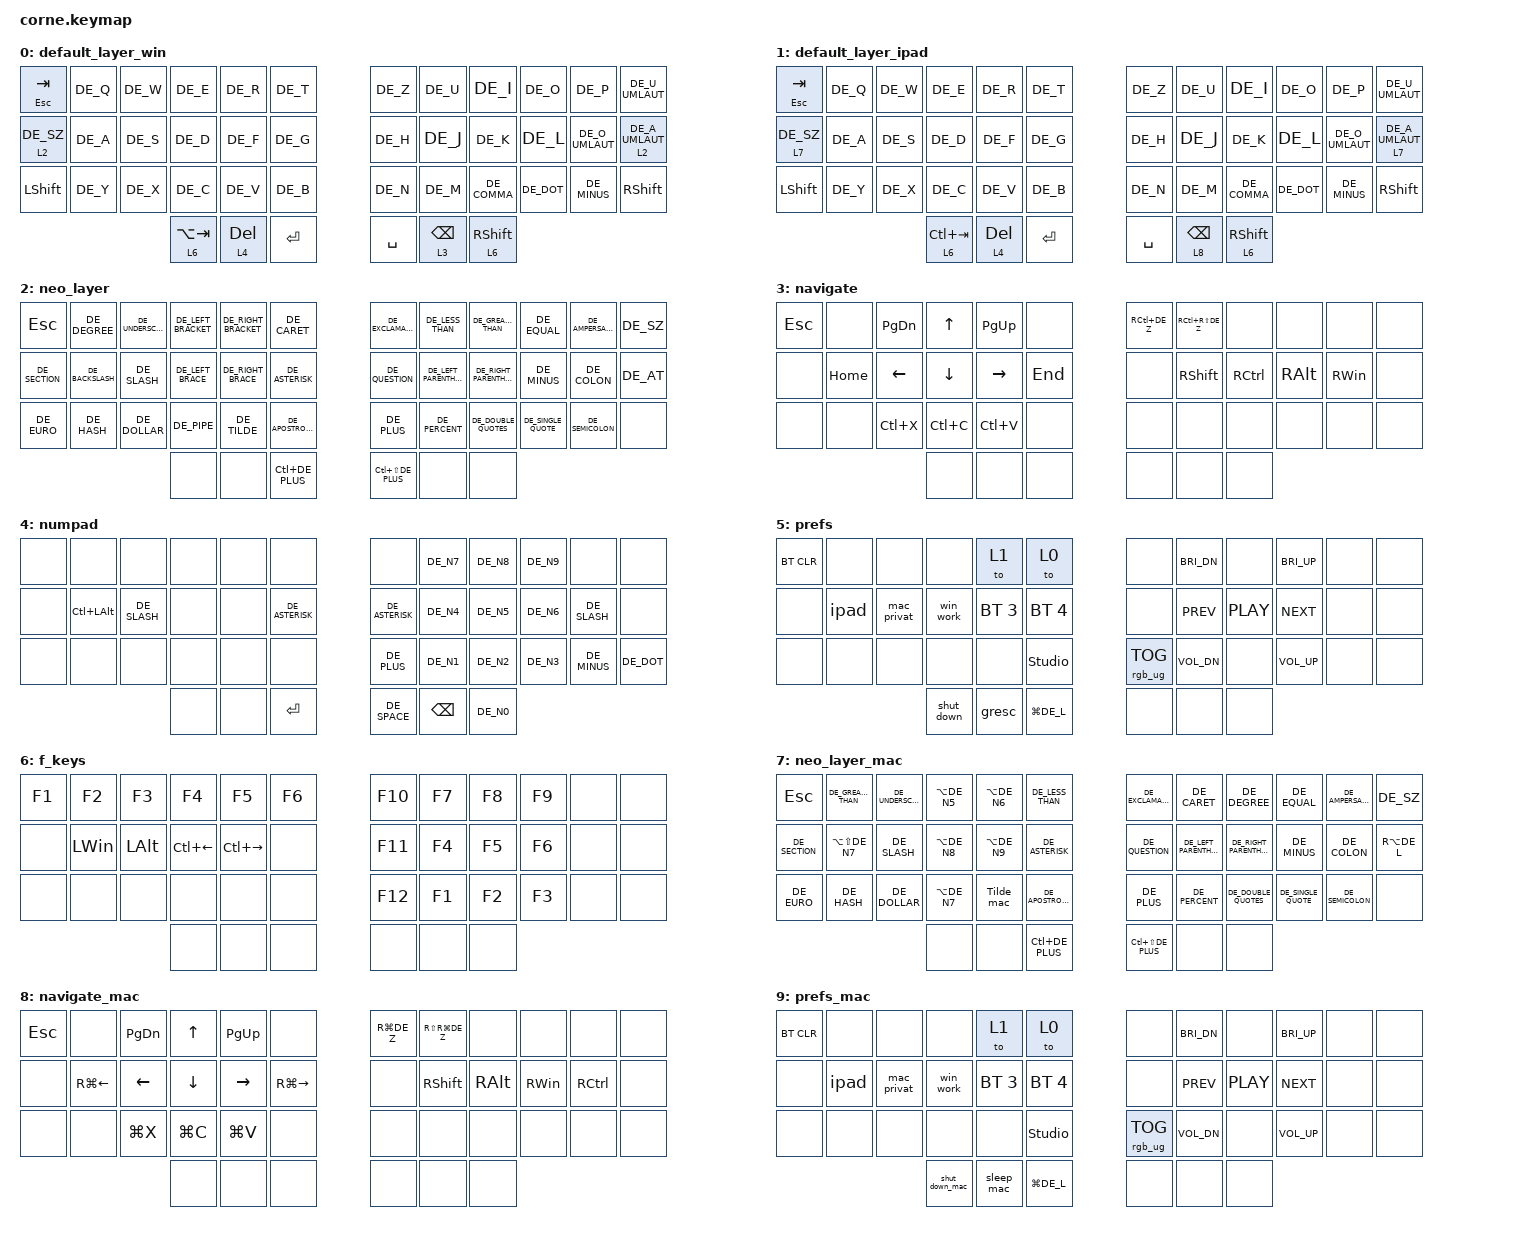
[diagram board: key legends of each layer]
/*
 * Copyright (c) 2020 The ZMK Contributors
 *
 * SPDX-License-Identifier: MIT
 */

#include "keys_de.h"
#include <behaviors.dtsi>
#include <dt-bindings/zmk/bt.h>
#include <dt-bindings/zmk/keys.h>
#include <dt-bindings/zmk/rgb.h>

/ {
    macros {
        switch: switch {
            compatible = "zmk,behavior-macro";
            #binding-cells = <0>;
            bindings =
                <&macro_press>,
                <&kp LEFT_ALT>,
                <&macro_tap>,
                <&kp TAB>,
                <&macro_release>,
                <&kp LEFT_ALT>;

            label = "SWITCH";
        };

        sleep_win: sleep_win {
            compatible = "zmk,behavior-macro";
            #binding-cells = <0>;
            bindings =
                <&macro_press>,
                <&kp LEFT_WIN>,
                <&macro_tap>,
                <&kp DE_X>,
                <&macro_release>,
                <&kp LEFT_WIN>,
                <&macro_wait_time 200>,
                <&macro_tap>,
                <&kp DE_R>,
                <&macro_wait_time 200>,
                <&kp DE_E>;

            label = "SLEEP_WIN";
        };

        shut_down: shut_down {
            compatible = "zmk,behavior-macro";
            #binding-cells = <0>;
            bindings =
                <&macro_press>,
                <&kp LEFT_WIN>,
                <&macro_tap>,
                <&kp DE_X>,
                <&macro_release>,
                <&kp LEFT_WIN>,
                <&macro_wait_time 200>,
                <&macro_tap>,
                <&kp DE_R>,
                <&macro_wait_time 200>,
                <&kp DE_R>;

            label = "SHUT_DOWN";
        };

        sleep_mac: sleep_mac {
            compatible = "zmk,behavior-macro";
            #binding-cells = <0>;
            bindings =
                <&macro_press>,
                <&kp LEFT_WIN &kp LEFT_SHIFT>,
                <&macro_tap>,
                <&kp C_EJECT>,
                <&macro_release>,
                <&kp LEFT_ALT &kp LEFT_WIN>;

            label = "SLEEP_MAC";
        };

        shut_down_mac: shut_down_mac {
            compatible = "zmk,behavior-macro";
            #binding-cells = <0>;
            bindings =
                <&macro_press>,
                <&kp LEFT_WIN &kp LEFT_CONTROL &kp LEFT_ALT>,
                <&macro_tap>,
                <&kp C_EJECT>,
                <&macro_release>,
                <&kp LEFT_ALT &kp LEFT_CONTROL &kp LEFT_WIN>;

            label = "SHUT_DOWN_MAC";
        };

        Tilde_mac: Tilde_mac {
            compatible = "zmk,behavior-macro";
            #binding-cells = <0>;
            bindings =
                <&macro_press>,
                <&kp LEFT_ALT>,
                <&macro_tap>,
                <&kp DE_N>,
                <&macro_release>,
                <&kp LEFT_ALT>,
                <&macro_tap>,
                <&kp DE_SPACE>;

            label = "TILDE_MAC";
        };

        ipad: ipad {
            compatible = "zmk,behavior-macro";
            #binding-cells = <0>;
            bindings = <&bt BT_SEL 0
                        &bt BT_DISC 1 &bt BT_DISC 2 &bt BT_DISC 3 &bt BT_DISC 4
                        &to 1>;
            label = "IPAD";
        };

        mac_privat: win_privat {
            compatible = "zmk,behavior-macro";
            #binding-cells = <0>;
            bindings = <&bt BT_SEL 1
                        &bt BT_DISC 0 &bt BT_DISC 2 &bt BT_DISC 3 &bt BT_DISC 4
                        &to 1>;
            label = "WIN_PRIVAT";
        };

        win_work: win_work {
            compatible = "zmk,behavior-macro";
            #binding-cells = <0>;
            bindings = <&bt BT_SEL 2
                        &bt BT_DISC 0 &bt BT_DISC 1 &bt BT_DISC 3 &bt BT_DISC 4
                        &to 0>;
            label = "WIN_WORK";
        };
    };

    behaviors {
        neo_level_l: neo_level_l {
            compatible = "zmk,behavior-hold-tap";
            label = "NEO_LEVEL_L";
            bindings = <&mo>, <&kp>;

            #binding-cells = <2>;
            tapping-term-ms = <200>;
            flavor = "balanced";
            hold-trigger-key-positions = <6 7 8 9 10 11 18 19 20 21 22 23 30 31 32 33 34 35>;
        };

        neo_level_r: neo_level_r {
            compatible = "zmk,behavior-hold-tap";
            label = "NEO_LEVEL_R";
            bindings = <&mo>, <&kp>;

            #binding-cells = <2>;
            tapping-term-ms = <200>;
            flavor = "balanced";
            hold-trigger-key-positions = <0 1 2 3 4 5 12 13 14 15 16 17 24 25 26 27 28 29>;
        };

        level_switch: level_switch {
            compatible = "zmk,behavior-hold-tap";
            label = "LEVEL_SWITCH";
            bindings = <&mo>, <&kp>;

            #binding-cells = <2>;
            tapping-term-ms = <400>;
            flavor = "balanced";
            hold-trigger-key-positions = <6 7 8 9 10 11 18 19 20 21 22 23 30 31 32 33 34 35 0 1 2 3 4 5 12 13 14 15 16 17 24 25 26 27 28 29 41 40>;
        };

        Tab_Esc: Tab_Esc {
            compatible = "zmk,behavior-hold-tap";
            label = "TAB_ESC";
            bindings = <&kp>, <&kp>;

            #binding-cells = <2>;
            tapping-term-ms = <200>;
            flavor = "tap-preferred";
        };
    };

    combos {
        compatible = "zmk,combos";

        prefs_l {
            bindings = <&mo 5>;
            key-positions = <37 36>;
            layers = <0>;
        };

        del_word {
            bindings = <&kp LC(BACKSPACE)>;
            key-positions = <40 37>;
            timeout-ms = <100>;
            layers = <0>;
        };

        prefs_r {
            bindings = <&mo 5>;
            key-positions = <40 41>;
            layers = <0>;
        };

        r_t {
            bindings = <&kp DE_R>;
            key-positions = <4 5>;
            layers = <0>;
        };

        c_v {
            bindings = <&kp DE_C>;
            key-positions = <27 28>;
            layers = <0>;
        };

        p_u {
            bindings = <&kp DE_U_UMLAUT>;
            key-positions = <11 10>;
            layers = <0>;
        };

        prefs_l_mac {
            bindings = <&mo 9>;
            key-positions = <37 36>;
            layers = <1>;
        };

        prefs_r_mac {
            bindings = <&mo 9>;
            key-positions = <40 41>;
            layers = <1>;
        };

        ctrl_l {
            bindings = <&kp RCTRL>;
            key-positions = <15 14>;
            layers = <0>;
            timeout-ms = <30>;
        };

        alt_l {
            bindings = <&kp LEFT_ALT>;
            key-positions = <14 13>;
            layers = <0>;
            timeout-ms = <30>;
            require-prior-idle-ms = <150>;
        };

        crtl_alt_l {
            bindings = <&kp LC(LEFT_ALT)>;
            key-positions = <15 14 13>;
            layers = <0>;
        };

        win_l {
            bindings = <&kp LEFT_WIN>;
            key-positions = <16 15 14 13>;
            layers = <0>;
        };

        crtl_shift_l {
            bindings = <&kp LC(LEFT_SHIFT)>;
            key-positions = <16 15 14>;
            layers = <0>;
        };

        ctrl_alt_shift_l {
            bindings = <&kp LA(LC(LEFT_SHIFT))>;
            key-positions = <16 13>;
            layers = <0 7>;
        };

        crtl_r {
            bindings = <&kp LCTRL>;
            key-positions = <20 21>;
            layers = <0>;
            timeout-ms = <30>;
        };

        alt_r {
            bindings = <&kp RIGHT_ALT>;
            key-positions = <22 21>;
            layers = <0>;
            timeout-ms = <30>;
        };

        crtl_alt_r {
            bindings = <&kp LC(LEFT_ALT)>;
            key-positions = <20 21 22>;
            layers = <0>;
        };

        win_r {
            bindings = <&kp RIGHT_WIN>;
            key-positions = <22 21 20 19>;
            layers = <0>;
        };

        ctrl_shift_r {
            bindings = <&kp LC(LEFT_SHIFT)>;
            key-positions = <21 20 19>;
            layers = <0>;
        };

        crtl_alt_shift_r {
            bindings = <&kp LA(LC(LEFT_SHIFT))>;
            key-positions = <19 22>;
            layers = <0 7>;
        };

        screenshoot_l {
            bindings = <&kp PRINTSCREEN>;
            key-positions = <4 3 2 1>;
            layers = <0>;
        };

        screenshoot_r {
            bindings = <&kp PRINTSCREEN>;
            key-positions = <7 8 9 10>;
            layers = <0>;
        };

        ctrl_l_mac {
            bindings = <&kp LEFT_WIN>;
            key-positions = <15 14>;
            layers = <1>;
        };

        alt_l_mac {
            bindings = <&kp LEFT_CONTROL>;
            key-positions = <14 13>;
            layers = <1>;
            timeout-ms = <30>;
            require-prior-idle-ms = <150>;
        };

        ctrl_r_mac {
            bindings = <&kp RIGHT_WIN>;
            key-positions = <20 21>;
            layers = <1>;
        };

        alt_r_mac {
            bindings = <&kp RIGHT_CONTROL>;
            key-positions = <22 21>;
            layers = <1>;
        };

        del_word_mac {
            bindings = <&kp LA(BACKSPACE)>;
            key-positions = <40 37>;
            timeout-ms = <100>;
            layers = <1>;
        };

        shift_l_mac {
            bindings = <&kp LSHIFT>;
            key-positions = <15 16>;
            layers = <1 0>;
            timeout-ms = <30>;
        };

        shift_r_mac {
            bindings = <&kp RSHIFT>;
            key-positions = <19 20>;
            layers = <1 0>;
            timeout-ms = <30>;
        };

        screenshot_l_mac {
            bindings = <&kp LG(LS(DE_N4))>;
            key-positions = <4 3 2 1>;
            layers = <1>;
        };

        screenshot_r_mac {
            bindings = <&kp RS(RG(DE_N4))>;
            key-positions = <7 8 9 10>;
            layers = <1>;
        };

        Escape {
            bindings = <&kp ESC>;
            key-positions = <28 27 26 25>;
            layers = <0 1>;
            timeout-ms = <90>;
        };
    };

    keymap {
        compatible = "zmk,keymap";

        default_layer_win {
            // -----------------------------------------------------------------------------------------
            // |  TAB |  Q  |  W  |  E  |  R  |  T  |   |  Y  |  U   |  I  |  O  |  P  | BSPC |
            // | CTRL |  A  |  S  |  D  |  F  |  G  |   |  H  |  J   |  K  |  L  |  ;  |  '   |
            // | SHFT |  Z  |  X  |  C  |  V  |  B  |   |  N  |  M   |  ,  |  .  |  /  | ESC  |
            //                    | GUI | LWR | SPC |   | ENT | RSE  | ALT |

            bindings = <
&Tab_Esc ESC TAB      &kp DE_Q  &kp DE_W  &kp DE_E                 &kp DE_R                &kp DE_T     &kp DE_Z   &kp DE_U                   &kp DE_I                     &kp DE_O    &kp DE_P         &kp DE_U_UMLAUT
&neo_level_l 2 DE_SZ  &kp DE_A  &kp DE_S  &kp DE_D                 &kp DE_F                &kp DE_G     &kp DE_H   &kp DE_J                   &kp DE_K                     &kp DE_L    &kp DE_O_UMLAUT  &neo_level_r 2 DE_A_UMLAUT
&kp LSHFT             &kp DE_Y  &kp DE_X  &kp DE_C                 &kp DE_V                &kp DE_B     &kp DE_N   &kp DE_M                   &kp DE_COMMA                 &kp DE_DOT  &kp DE_MINUS     &kp RIGHT_SHIFT
                                          &level_switch 6 LA(TAB)  &level_switch 4 DELETE  &kp ENTER    &kp SPACE  &level_switch 3 BACKSPACE  &level_switch 6 RIGHT_SHIFT
            >;
        };

        default_layer_ipad {
            bindings = <
&Tab_Esc ESC TAB      &kp DE_Q  &kp DE_W  &kp DE_E                 &kp DE_R                &kp DE_T     &kp DE_Z   &kp DE_U                   &kp DE_I                     &kp DE_O    &kp DE_P         &kp DE_U_UMLAUT
&neo_level_l 7 DE_SZ  &kp DE_A  &kp DE_S  &kp DE_D                 &kp DE_F                &kp DE_G     &kp DE_H   &kp DE_J                   &kp DE_K                     &kp DE_L    &kp DE_O_UMLAUT  &neo_level_r 7 DE_A_UMLAUT
&kp LSHFT             &kp DE_Y  &kp DE_X  &kp DE_C                 &kp DE_V                &kp DE_B     &kp DE_N   &kp DE_M                   &kp DE_COMMA                 &kp DE_DOT  &kp DE_MINUS     &kp RIGHT_SHIFT
                                          &level_switch 6 LC(TAB)  &level_switch 4 DELETE  &kp ENTER    &kp SPACE  &level_switch 8 BACKSPACE  &level_switch 6 RIGHT_SHIFT
            >;
        };

        neo_layer {
            // -----------------------------------------------------------------------------------------
            // |  TAB |  !  |  @  |  #  |  $  |  %  |   |  ^  |  &  |  *  |  (  |  )  | BSPC |
            // | CTRL |     |     |     |     |     |   |  -  |  =  |  [  |  ]  |  \  |  `   |
            // | SHFT |     |     |     |     |     |   |  _  |  +  |  {  |  }  | "|" |  ~   |
            //                    | GUI |     | SPC |   | ENT |     | ALT |

            bindings = <
&kp ESC         &kp DE_DEGREE     &kp DE_UNDERSCORE  &kp DE_LEFT_BRACKET  &kp DE_RIGHT_BRACKET  &kp DE_CARET         &kp DE_EXCLAMATION   &kp DE_LESS_THAN         &kp DE_GREATER_THAN       &kp DE_EQUAL         &kp DE_AMPERSAND  &kp DE_SZ
&kp DE_SECTION  &kp DE_BACKSLASH  &kp DE_SLASH       &kp DE_LEFT_BRACE    &kp DE_RIGHT_BRACE    &kp DE_ASTERISK      &kp DE_QUESTION      &kp DE_LEFT_PARENTHESIS  &kp DE_RIGHT_PARENTHESIS  &kp DE_MINUS         &kp DE_COLON      &kp DE_AT
&kp DE_EURO     &kp DE_HASH       &kp DE_DOLLAR      &kp DE_PIPE          &kp DE_TILDE          &kp DE_APOSTROPHE    &kp DE_PLUS          &kp DE_PERCENT           &kp DE_DOUBLE_QUOTES      &kp DE_SINGLE_QUOTE  &kp DE_SEMICOLON  &none
                                                     &none                &none                 &kp LC(DE_PLUS)      &kp LC(LS(DE_PLUS))  &none                    &none
            >;
        };

        navigate {
            bindings = <
&kp ESC  &none     &kp PG_DN  &kp UP     &kp PG_UP  &none      &kp RC(DE_Z)  &kp RC(RS(DE_Z))  &none              &none          &none          &none
&none    &kp HOME  &kp LEFT   &kp DOWN   &kp RIGHT  &kp END    &none         &kp RIGHT_SHIFT   &kp RIGHT_CONTROL  &kp RIGHT_ALT  &kp RIGHT_WIN  &none
&none    &none     &kp LC(X)  &kp LC(C)  &kp LC(V)  &none      &none         &none             &none              &none          &none          &none
                              &none      &none      &none      &none         &none             &none
            >;
        };

        numpad {
            bindings = <
&none  &none             &none         &none  &none  &none              &none            &kp DE_N7      &kp DE_N8  &kp DE_N9  &none         &none
&none  &kp LC(LEFT_ALT)  &kp DE_SLASH  &none  &none  &kp DE_ASTERISK    &kp DE_ASTERISK  &kp DE_N4      &kp DE_N5  &kp DE_N6  &kp DE_SLASH  &none
&none  &none             &none         &none  &none  &none              &kp DE_PLUS      &kp DE_N1      &kp DE_N2  &kp DE_N3  &kp DE_MINUS  &kp DE_DOT
                                       &none  &none  &kp RET            &kp DE_SPACE     &kp BACKSPACE  &kp DE_N0
            >;
        };

        prefs {
            // -----------------------------------------------------------------------------------------
            // |  TAB |  1  |  2  |  3  |  4  |  5  |   |  6  |  7  |  8  |  9  |  0  | BSPC |
            // | BTCLR| BT1 | BT2 | BT3 | BT4 | BT5 |   | LFT | DWN |  UP | RGT |     |      |
            // | SHFT |     |     |     |     |     |   |     |     |     |     |     |      |
            //                    | GUI |     | SPC |   | ENT |     | ALT |

            bindings = <
&bt BT_CLR  &none  &none        &none       &to 1         &to 0             &none            &kp C_BRI_DN  &none       &kp C_BRI_UP  &none  &none
&none       &ipad  &mac_privat  &win_work   &bt BT_SEL 3  &bt BT_SEL 4      &none            &kp C_PREV    &kp C_PLAY  &kp C_NEXT    &none  &none
&none       &none  &none        &none       &none         &studio_unlock    &rgb_ug RGB_TOG  &kp C_VOL_DN  &none       &kp C_VOL_UP  &none  &none
                                &shut_down  &gresc        &kp LG(DE_L)      &none            &none         &none
            >;
        };

        f_keys {
            bindings = <
&kp F1  &kp F2        &kp F3        &kp F4              &kp F5         &kp F6    &kp F10  &kp F7  &kp F8  &kp F9  &none  &none
&none   &kp LEFT_WIN  &kp LEFT_ALT  &kp LC(LEFT_ARROW)  &kp LC(RIGHT)  &none     &kp F11  &kp F4  &kp F5  &kp F6  &none  &none
&none   &none         &none         &none               &none          &none     &kp F12  &kp F1  &kp F2  &kp F3  &none  &none
                                    &none               &none          &none     &none    &none   &none
            >;
        };

        neo_layer_mac {
            bindings = <
&kp ESC         &kp DE_GREATER_THAN  &kp DE_UNDERSCORE  &kp LA(DE_N5)  &kp LA(DE_N6)  &kp DE_LESS_THAN     &kp DE_EXCLAMATION   &kp DE_CARET             &kp DE_DEGREE             &kp DE_EQUAL         &kp DE_AMPERSAND  &kp DE_SZ
&kp DE_SECTION  &kp LA(LS(DE_N7))    &kp DE_SLASH       &kp LA(DE_N8)  &kp LA(DE_N9)  &kp DE_ASTERISK      &kp DE_QUESTION      &kp DE_LEFT_PARENTHESIS  &kp DE_RIGHT_PARENTHESIS  &kp DE_MINUS         &kp DE_COLON      &kp RA(DE_L)
&kp DE_EURO     &kp DE_HASH          &kp DE_DOLLAR      &kp LA(DE_N7)  &Tilde_mac     &kp DE_APOSTROPHE    &kp DE_PLUS          &kp DE_PERCENT           &kp DE_DOUBLE_QUOTES      &kp DE_SINGLE_QUOTE  &kp DE_SEMICOLON  &none
                                                        &none          &none          &kp LC(DE_PLUS)      &kp LC(LS(DE_PLUS))  &none                    &none
            >;
        };

        navigate_mac {
            bindings = <
&kp ESC  &none               &kp PG_DN  &kp UP     &kp PG_UP  &none            &kp RG(DE_Z)  &kp RS(RG(DE_Z))  &none          &none          &none              &none
&none    &kp RG(LEFT_ARROW)  &kp LEFT   &kp DOWN   &kp RIGHT  &kp RG(RIGHT)    &none         &kp RIGHT_SHIFT   &kp RIGHT_ALT  &kp RIGHT_WIN  &kp RIGHT_CONTROL  &none
&none    &none               &kp LG(X)  &kp LG(C)  &kp LG(V)  &none            &none         &none             &none          &none          &none              &none
                                        &none      &none      &none            &none         &none             &none
            >;
        };

        prefs_mac {
            bindings = <
&bt BT_CLR  &none  &none        &none           &to 1         &to 0             &none            &kp C_BRI_DN  &none       &kp C_BRI_UP     &none  &none
&none       &ipad  &mac_privat  &win_work       &bt BT_SEL 3  &bt BT_SEL 4      &none            &kp C_PREV    &kp C_PLAY  &kp C_NEXT       &none  &none
&none       &none  &none        &none           &none         &studio_unlock    &rgb_ug RGB_TOG  &kp C_VOL_DN  &none       &kp C_VOLUME_UP  &none  &none
                                &shut_down_mac  &sleep_mac    &kp LG(DE_L)      &none            &none         &none
            >;
        };
    };
};
